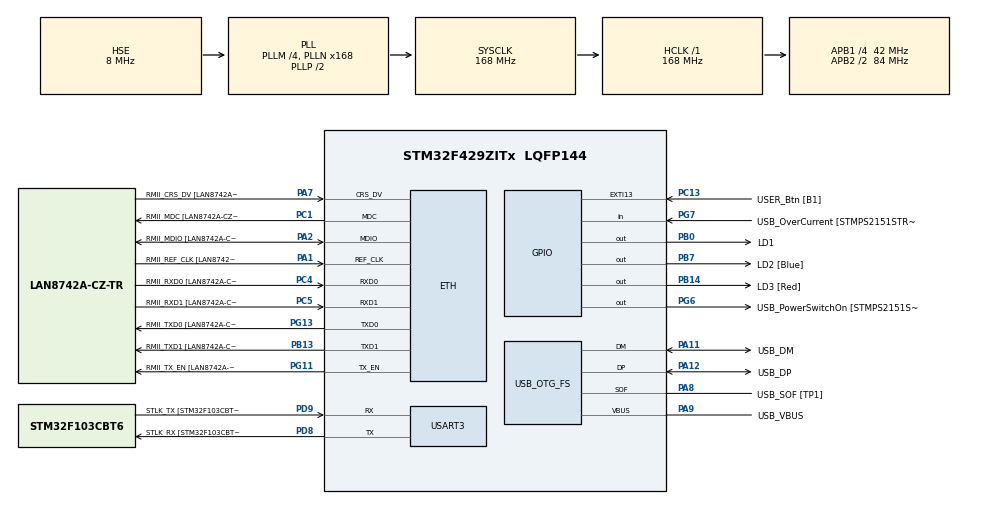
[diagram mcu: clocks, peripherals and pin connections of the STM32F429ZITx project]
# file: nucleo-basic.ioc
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Dma.Request0=USART3_RX
Dma.Request1=USART3_TX
Dma.USART3_RX.0.Direction=DMA_PERIPH_TO_MEMORY
Dma.USART3_RX.0.FIFOMode=DMA_FIFOMODE_DISABLE
Dma.USART3_RX.0.Instance=DMA1_Stream1
Dma.USART3_RX.0.MemDataAlignment=DMA_MDATAALIGN_BYTE
Dma.USART3_RX.0.MemInc=DMA_MINC_ENABLE
Dma.USART3_RX.0.Mode=DMA_NORMAL
Dma.USART3_RX.0.PeriphDataAlignment=DMA_PDATAALIGN_BYTE
Dma.USART3_RX.0.PeriphInc=DMA_PINC_DISABLE
Dma.USART3_RX.0.Priority=DMA_PRIORITY_LOW
Dma.USART3_TX.1.Direction=DMA_MEMORY_TO_PERIPH
Dma.USART3_TX.1.FIFOMode=DMA_FIFOMODE_DISABLE
Dma.USART3_TX.1.Instance=DMA1_Stream3
Dma.USART3_TX.1.MemDataAlignment=DMA_MDATAALIGN_BYTE
Dma.USART3_TX.1.MemInc=DMA_MINC_ENABLE
Dma.USART3_TX.1.Mode=DMA_NORMAL
Dma.USART3_TX.1.PeriphDataAlignment=DMA_PDATAALIGN_BYTE
Dma.USART3_TX.1.PeriphInc=DMA_PINC_DISABLE
Dma.USART3_TX.1.Priority=DMA_PRIORITY_LOW
ETH.MACAddr=00\:80\:E1\:00\:66\:00
ETH.MediaInterface=ETH_MEDIA_INTERFACE_RMII
ETH.PHY_Name=LAN8742A_PHY_ADDRESS
ETH.PHY_Value=0
ETH.PhyAddress=0
FATFS._MAX_LFN=32
FATFS._STRF_ENCODE=0
FATFS._USE_LFN=2
FREERTOS.INCLUDE_uxTaskGetStackHighWaterMark=1
FREERTOS.INCLUDE_vTaskDelayUntil=1
FREERTOS.INCLUDE_xTaskGetCurrentTaskHandle=1
FREERTOS.Tasks01=defaultTask,0,1024,StartDefaultTask,Default,NULL,Dynamic,NULL,NULL
FREERTOS.configTOTAL_HEAP_SIZE=32768
LWIP.Version=v2.0.3_Cube
Mcu.Family=STM32F4
Mcu.Name=STM32F429ZITx
Mcu.Package=LQFP144
NVIC.DMA1_Stream1_IRQn=true\:5\:0\:false\:false\:true\:true\:false
NVIC.DMA1_Stream3_IRQn=true\:5\:0\:false\:false\:true\:true\:false
NVIC.ETH_IRQn=true\:5\:0\:false\:false\:true\:true\:false
NVIC.OTG_FS_IRQn=true\:5\:0\:false\:false\:true\:true\:false
NVIC.PriorityGroup=NVIC_PRIORITYGROUP_4
NVIC.TIM6_DAC_IRQn=true\:0\:0\:false\:false\:true\:false\:false
NVIC.TimeBase=TIM6_DAC_IRQn
NVIC.TimeBaseIP=TIM6
NVIC.USART3_IRQn=true\:5\:0\:false\:false\:true\:true\:true
PA1.GPIO_Label=RMII_REF_CLK [LAN8742A-CZ-TR_REFCLK0]
PA1.Mode=RMII
PA1.Signal=ETH_REF_CLK
PA10.GPIO_Label=USB_ID
PA10.Signal=USB_OTG_FS_ID
PA11.GPIO_Label=USB_DM
PA11.Mode=Host_Only
PA11.Signal=USB_OTG_FS_DM
PA12.GPIO_Label=USB_DP
PA12.Mode=Host_Only
PA12.Signal=USB_OTG_FS_DP
PA13.GPIO_Label=TMS
PA13.Mode=Serial_Wire
PA13.Signal=SYS_JTMS-SWDIO
PA14.GPIO_Label=TCK
PA14.Mode=Serial_Wire
PA14.Signal=SYS_JTCK-SWCLK
PA2.GPIO_Label=RMII_MDIO [LAN8742A-CZ-TR_MDIO]
PA2.Mode=RMII
PA2.Signal=ETH_MDIO
PA7.GPIO_Label=RMII_CRS_DV [LAN8742A-CZ-TR_CRS_DV]
PA7.Mode=RMII
PA7.Signal=ETH_CRS_DV
PA8.GPIO_Label=USB_SOF [TP1]
PA8.Mode=Activate_SOF_FS
PA8.Signal=USB_OTG_FS_SOF
PA9.GPIO_Label=USB_VBUS
PA9.Mode=Activate_VBUS
PA9.Signal=USB_OTG_FS_VBUS
PB0.GPIO_Label=LD1
PB0.Signal=GPIO_Output
PB13.GPIO_Label=RMII_TXD1 [LAN8742A-CZ-TR_TXD1]
PB13.Mode=RMII
PB13.Signal=ETH_TXD1
PB14.GPIO_Label=LD3 [Red]
PB14.Signal=GPIO_Output
PB7.GPIO_Label=LD2 [Blue]
PB7.Signal=GPIO_Output
PC1.GPIO_Label=RMII_MDC [LAN8742A-CZ-TR_MDC]
PC1.Mode=RMII
PC1.Signal=ETH_MDC
PC13.GPIO_Label=USER_Btn [B1]
PC13.Signal=GPXTI13
PC14/OSC32_IN.Mode=LSE-External-Oscillator
PC14/OSC32_IN.Signal=RCC_OSC32_IN
PC15/OSC32_OUT.Mode=LSE-External-Oscillator
PC15/OSC32_OUT.Signal=RCC_OSC32_OUT
PC4.GPIO_Label=RMII_RXD0 [LAN8742A-CZ-TR_RXD0]
PC4.Mode=RMII
PC4.Signal=ETH_RXD0
PC5.GPIO_Label=RMII_RXD1 [LAN8742A-CZ-TR_RXD1]
PC5.Mode=RMII
PC5.Signal=ETH_RXD1
PD8.GPIO_Label=STLK_RX [STM32F103CBT6_PA3]
PD8.Mode=Asynchronous
PD8.Signal=USART3_TX
PD9.GPIO_Label=STLK_TX [STM32F103CBT6_PA2]
PD9.Mode=Asynchronous
PD9.Signal=USART3_RX
PG11.GPIO_Label=RMII_TX_EN [LAN8742A-CZ-TR_TXEN]
PG11.Mode=RMII
PG11.Signal=ETH_TX_EN
PG13.GPIO_Label=RMII_TXD0 [LAN8742A-CZ-TR_TXD0]
PG13.Mode=RMII
PG13.Signal=ETH_TXD0
PG6.GPIO_Label=USB_PowerSwitchOn [STMPS2151STR_EN]
PG6.Signal=GPIO_Output
PG7.GPIO_Label=USB_OverCurrent [STMPS2151STR_FAULT]
PG7.Signal=GPIO_Input
PH0/OSC_IN.GPIO_Label=MCO [STM32F103CBT6_PA8]
PH0/OSC_IN.Mode=HSE-External-Clock-Source
PH0/OSC_IN.Signal=RCC_OSC_IN
PH1/OSC_OUT.Mode=HSE-External-Clock-Source
PH1/OSC_OUT.Signal=RCC_OSC_OUT
ProjectManager.HeapSize=0x200
ProjectManager.StackSize=0x400
ProjectManager.TargetToolchain=TrueSTUDIO
RCC.48MHZClocksFreq_Value=48000000
RCC.AHBFreq_Value=168000000
RCC.APB1CLKDivider=RCC_HCLK_DIV4
RCC.APB1Freq_Value=42000000
RCC.APB1TimFreq_Value=84000000
RCC.APB2CLKDivider=RCC_HCLK_DIV2
RCC.APB2Freq_Value=84000000
RCC.APB2TimCLKDivider=2
RCC.APB2TimFreq_Value=168000000
RCC.CortexFreq_Value=168000000
RCC.HCLKFreq_Value=168000000
RCC.HSE_VALUE=8000000
RCC.HSI_VALUE=16000000
RCC.PLLM=4
RCC.PLLMUL=RCC_PLL_MUL9
RCC.PLLN=168
RCC.PLLQ=7
RCC.PRESCALERUSB=RCC_USBCLKSOURCE_PLL_DIV1_5
RCC.SYSCLKFreq_VALUE=168000000
RCC.SYSCLKSource=RCC_SYSCLKSOURCE_PLLCLK
RCC.SYSCLKSourceVirtual=RCC_SYSCLKSOURCE_PLLCLK
RCC.USBFreq_Value=48000000
RCC.VCOOutputFreq_Value=336000000
USART3.VirtualMode=VM_ASYNC
USB_HOST.BSP.number=1
USB_HOST.USBH_DEBUG_LEVEL-MSC_FS=3
USB_HOST.USBH_HandleTypeDef-MSC_FS=hUsbHostFS
USB_HOST.VirtualModeFS=Msc
USB_HOST0.BSP.STBoard=false
USB_HOST0.BSP.api=Unknown
USB_HOST0.BSP.i2caddr=0
USB_HOST0.BSP.instance=PG6
USB_HOST0.BSP.ip=GPIO
USB_HOST0.BSP.mode=Output
USB_HOST0.BSP.name=Drive_VBUS_FS
USB_HOST0.BSP.solution=PG6
USB_OTG_FS.VirtualMode=Host_Only
USB_OTG_FS.phy_itface=HCD_PHY_EMBEDDED
VP_FATFS_VS_USB.Mode=USB
VP_FREERTOS_VS_ENABLE.Mode=Enabled
VP_LWIP_VS_Enabled.Mode=Enabled
VP_SYS_VS_tim6.Mode=TIM6
VP_USB_HOST_VS_USB_HOST_MSC_FS.Mode=MSC_FS
board=NUCLEO-F429ZI

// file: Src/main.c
/**
  ******************************************************************************
  * @file           : main.c
  * @brief          : Main program body
  ******************************************************************************
  * This notice applies to any and all portions of this file
  * that are not between comment pairs USER CODE BEGIN and
  * USER CODE END. Other portions of this file, whether
  * inserted by the user or by software development tools
  * are owned by their respective copyright owners.
  *
  * Copyright (c) 2020 STMicroelectronics International N.V.
  * All rights reserved.
  *
  * Redistribution and use in source and binary forms, with or without
  * modification, are permitted, provided that the following conditions are met:
  *
  * 1. Redistribution of source code must retain the above copyright notice,
  *    this list of conditions and the following disclaimer.
  * 2. Redistributions in binary form must reproduce the above copyright notice,
  *    this list of conditions and the following disclaimer in the documentation
  *    and/or other materials provided with the distribution.
  * 3. Neither the name of STMicroelectronics nor the names of other
  *    contributors to this software may be used to endorse or promote products
  *    derived from this software without specific written permission.
  * 4. This software, including modifications and/or derivative works of this
  *    software, must execute solely and exclusively on microcontroller or
  *    microprocessor devices manufactured by or for STMicroelectronics.
  * 5. Redistribution and use of this software other than as permitted under
  *    this license is void and will automatically terminate your rights under
  *    this license.
  *
  * THIS SOFTWARE IS PROVIDED BY STMICROELECTRONICS AND CONTRIBUTORS "AS IS"
  * AND ANY EXPRESS, IMPLIED OR STATUTORY WARRANTIES, INCLUDING, BUT NOT
  * LIMITED TO, THE IMPLIED WARRANTIES OF MERCHANTABILITY, FITNESS FOR A
  * PARTICULAR PURPOSE AND NON-INFRINGEMENT OF THIRD PARTY INTELLECTUAL PROPERTY
  * RIGHTS ARE DISCLAIMED TO THE FULLEST EXTENT PERMITTED BY LAW. IN NO EVENT
  * SHALL STMICROELECTRONICS OR CONTRIBUTORS BE LIABLE FOR ANY DIRECT, INDIRECT,
  * INCIDENTAL, SPECIAL, EXEMPLARY, OR CONSEQUENTIAL DAMAGES (INCLUDING, BUT NOT
  * LIMITED TO, PROCUREMENT OF SUBSTITUTE GOODS OR SERVICES; LOSS OF USE, DATA,
  * OR PROFITS; OR BUSINESS INTERRUPTION) HOWEVER CAUSED AND ON ANY THEORY OF
  * LIABILITY, WHETHER IN CONTRACT, STRICT LIABILITY, OR TORT (INCLUDING
  * NEGLIGENCE OR OTHERWISE) ARISING IN ANY WAY OUT OF THE USE OF THIS SOFTWARE,
  * EVEN IF ADVISED OF THE POSSIBILITY OF SUCH DAMAGE.
  *
  ******************************************************************************
  */
#include "main.h"
#include "stm32f4xx_hal.h"
#include "cmsis_os.h"
#include "fatfs.h"
#include "lwip.h"
#include "usb_host.h"

/* USER CODE BEGIN Includes */
#include "dbgu.h"
#include "term_io.h"
#include "ansi.h"

#include "FreeRTOS.h"
#include "task.h"
#include "queue.h"

/* USER CODE END Includes */

UART_HandleTypeDef huart3;
DMA_HandleTypeDef hdma_usart3_rx;
DMA_HandleTypeDef hdma_usart3_tx;

osThreadId defaultTaskHandle;

/* USER CODE BEGIN PV */
/* Private variables ---------------------------------------------------------*/
xTaskHandle taskMessageHandler;
xQueueHandle loopQueue;
xSemaphoreHandle labSemaphore;

/* USER CODE END PV */

void SystemClock_Config(void);
static void MX_GPIO_Init(void);
static void MX_DMA_Init(void);
static void MX_USART3_UART_Init(void);
void StartDefaultTask(void const * argument);

/* USER CODE BEGIN PFP */
/* Private function prototypes -----------------------------------------------*/

/* USER CODE END PFP */

/* USER CODE BEGIN 0 */
#define FREERTOS_LAB 1
/* USER CODE END 0 */

int main(void)
{

  /* MCU Configuration----------------------------------------------------------*/

  /* Reset of all peripherals, Initializes the Flash interface and the Systick. */
  HAL_Init();

  /* Configure the system clock */
  SystemClock_Config();

  /* Initialize all configured peripherals */
  MX_GPIO_Init();
  MX_DMA_Init();
  MX_USART3_UART_Init();
  /* USER CODE BEGIN 2 */
  debug_init(&huart3);
  xprintf(ANSI_BG_BLUE "\nNucleo-144 F429ZI FreeRTOS project" ANSI_BG_DEFAULT "\n");
  xprintf("Funkcja xprintf dziala.\n");
  printf("Zwykly printf dziala.\n");

  /* USER CODE END 2 */

  /* Create the thread(s) */
  /* definition and creation of defaultTask */
  osThreadDef(defaultTask, StartDefaultTask, osPriorityNormal, 0, 1024);
  defaultTaskHandle = osThreadCreate(osThread(defaultTask), NULL);

  /* Start scheduler */
  osKernelStart();

  /* We should never get here as control is now taken by the scheduler */

  /* Infinite loop */
  while (1)
  {

  }

}

void SystemClock_Config(void)
{

  RCC_OscInitTypeDef RCC_OscInitStruct;
  RCC_ClkInitTypeDef RCC_ClkInitStruct;

    /**Configure the main internal regulator output voltage
    */
  __HAL_RCC_PWR_CLK_ENABLE();

  __HAL_PWR_VOLTAGESCALING_CONFIG(PWR_REGULATOR_VOLTAGE_SCALE1);

    /**Initializes the CPU, AHB and APB busses clocks
    */
  RCC_OscInitStruct.OscillatorType = RCC_OSCILLATORTYPE_HSE;
  RCC_OscInitStruct.HSEState = RCC_HSE_BYPASS;
  RCC_OscInitStruct.PLL.PLLState = RCC_PLL_ON;
  RCC_OscInitStruct.PLL.PLLSource = RCC_PLLSOURCE_HSE;
  RCC_OscInitStruct.PLL.PLLM = 4;
  RCC_OscInitStruct.PLL.PLLN = 168;
  RCC_OscInitStruct.PLL.PLLP = RCC_PLLP_DIV2;
  RCC_OscInitStruct.PLL.PLLQ = 7;
  if (HAL_RCC_OscConfig(&RCC_OscInitStruct) != HAL_OK)
  {
    _Error_Handler(__FILE__, __LINE__);
  }

    /**Initializes the CPU, AHB and APB busses clocks
    */
  RCC_ClkInitStruct.ClockType = RCC_CLOCKTYPE_HCLK|RCC_CLOCKTYPE_SYSCLK
                              |RCC_CLOCKTYPE_PCLK1|RCC_CLOCKTYPE_PCLK2;
  RCC_ClkInitStruct.SYSCLKSource = RCC_SYSCLKSOURCE_PLLCLK;
  RCC_ClkInitStruct.AHBCLKDivider = RCC_SYSCLK_DIV1;
  RCC_ClkInitStruct.APB1CLKDivider = RCC_HCLK_DIV4;
  RCC_ClkInitStruct.APB2CLKDivider = RCC_HCLK_DIV2;

  if (HAL_RCC_ClockConfig(&RCC_ClkInitStruct, FLASH_LATENCY_5) != HAL_OK)
  {
    _Error_Handler(__FILE__, __LINE__);
  }

    /**Configure the Systick interrupt time
    */
  HAL_SYSTICK_Config(HAL_RCC_GetHCLKFreq()/1000);

    /**Configure the Systick
    */
  HAL_SYSTICK_CLKSourceConfig(SYSTICK_CLKSOURCE_HCLK);

  /* SysTick_IRQn interrupt configuration */
  HAL_NVIC_SetPriority(SysTick_IRQn, 15, 0);
}

/* USART3 init function */
static void MX_USART3_UART_Init(void)
{

  huart3.Instance = USART3;
  huart3.Init.BaudRate = 115200;
  huart3.Init.WordLength = UART_WORDLENGTH_8B;
  huart3.Init.StopBits = UART_STOPBITS_1;
  huart3.Init.Parity = UART_PARITY_NONE;
  huart3.Init.Mode = UART_MODE_TX_RX;
  huart3.Init.HwFlowCtl = UART_HWCONTROL_NONE;
  huart3.Init.OverSampling = UART_OVERSAMPLING_16;
  if (HAL_UART_Init(&huart3) != HAL_OK)
  {
    _Error_Handler(__FILE__, __LINE__);
  }

}

static void MX_DMA_Init(void)
{
  /* DMA controller clock enable */
  __HAL_RCC_DMA1_CLK_ENABLE();

  /* DMA interrupt init */
  /* DMA1_Stream1_IRQn interrupt configuration */
  HAL_NVIC_SetPriority(DMA1_Stream1_IRQn, 5, 0);
  HAL_NVIC_EnableIRQ(DMA1_Stream1_IRQn);
  /* DMA1_Stream3_IRQn interrupt configuration */
  HAL_NVIC_SetPriority(DMA1_Stream3_IRQn, 5, 0);
  HAL_NVIC_EnableIRQ(DMA1_Stream3_IRQn);

}

/** Configure pins as
        * Analog
        * Input
        * Output
        * EVENT_OUT
        * EXTI
*/
static void MX_GPIO_Init(void)
{

  GPIO_InitTypeDef GPIO_InitStruct;

  /* GPIO Ports Clock Enable */
  __HAL_RCC_GPIOC_CLK_ENABLE();
  __HAL_RCC_GPIOH_CLK_ENABLE();
  __HAL_RCC_GPIOA_CLK_ENABLE();
  __HAL_RCC_GPIOB_CLK_ENABLE();
  __HAL_RCC_GPIOD_CLK_ENABLE();
  __HAL_RCC_GPIOG_CLK_ENABLE();

  /*Configure GPIO pin Output Level */
  HAL_GPIO_WritePin(GPIOB, LD1_Pin|LD3_Pin|LD2_Pin, GPIO_PIN_RESET);

  /*Configure GPIO pin Output Level */
  HAL_GPIO_WritePin(USB_PowerSwitchOn_GPIO_Port, USB_PowerSwitchOn_Pin, GPIO_PIN_RESET);

  /*Configure GPIO pin : USER_Btn_Pin */
  GPIO_InitStruct.Pin = USER_Btn_Pin;
  GPIO_InitStruct.Mode = GPIO_MODE_IT_RISING;
  GPIO_InitStruct.Pull = GPIO_NOPULL;
  HAL_GPIO_Init(USER_Btn_GPIO_Port, &GPIO_InitStruct);

  /*Configure GPIO pins : LD1_Pin LD3_Pin LD2_Pin */
  GPIO_InitStruct.Pin = LD1_Pin|LD3_Pin|LD2_Pin;
  GPIO_InitStruct.Mode = GPIO_MODE_OUTPUT_PP;
  GPIO_InitStruct.Pull = GPIO_NOPULL;
  GPIO_InitStruct.Speed = GPIO_SPEED_FREQ_LOW;
  HAL_GPIO_Init(GPIOB, &GPIO_InitStruct);

  /*Configure GPIO pin : USB_PowerSwitchOn_Pin */
  GPIO_InitStruct.Pin = USB_PowerSwitchOn_Pin;
  GPIO_InitStruct.Mode = GPIO_MODE_OUTPUT_PP;
  GPIO_InitStruct.Pull = GPIO_NOPULL;
  GPIO_InitStruct.Speed = GPIO_SPEED_FREQ_LOW;
  HAL_GPIO_Init(USB_PowerSwitchOn_GPIO_Port, &GPIO_InitStruct);

  /*Configure GPIO pin : USB_OverCurrent_Pin */
  GPIO_InitStruct.Pin = USB_OverCurrent_Pin;
  GPIO_InitStruct.Mode = GPIO_MODE_INPUT;
  GPIO_InitStruct.Pull = GPIO_NOPULL;
  HAL_GPIO_Init(USB_OverCurrent_GPIO_Port, &GPIO_InitStruct);

}

/* USER CODE BEGIN 4 */
void messageTask(void *paramters) {
	portTickType xLastWakeTime;
	xLastWakeTime = xTaskGetTickCount();

	while(1)
	{
		vTaskDelayUntil( &xLastWakeTime, 1000);

		xprintf("Current systime is: %05d\n",(int)xTaskGetTickCount());

		volatile int i = 1000000;
		while(i--) asm("nop");

		char key;
		while(xQueueReceive(loopQueue, &key, 4) == pdTRUE){
			xprintf("Received key: %c\n", key);
		}

	}
}

void ledTask(void *paramters) {
	while(1)
	{
//	  HAL_GPIO_TogglePin(LD2_GPIO_Port,LD2_Pin);
//	  vTaskDelay(1);
//	  HAL_GPIO_TogglePin(LD2_GPIO_Port,LD2_Pin);
//	  vTaskDelay(5);

	  char key = inkey();

	  if(key != 0) {
		  if(key == 's') {
			  vTaskSuspend(taskMessageHandler);
		  }
		  else if(key == 'r') {
			  vTaskResume(taskMessageHandler);
		  }
		  else {
			  portBASE_TYPE conf = xQueueSend(loopQueue, &key, 4);
			  if (conf != pdTRUE) {
				  xprintf("Queue is full!!!");
			  }
		  }
	  }
	}
}

void semTaskA(void *paramters) {
	while(1)
	{
	  if(xSemaphoreTake(labSemaphore, 100) == pdTRUE) {

		  HAL_GPIO_TogglePin(LD2_GPIO_Port,LD2_Pin);
		  vTaskDelay(100);
		  HAL_GPIO_TogglePin(LD2_GPIO_Port,LD2_Pin);
		  xSemaphoreGive(labSemaphore);
		  vTaskDelay(200);

	  }

	}
}

void semTaskB(void *paramters) {
	while(1)
	{
		if(xSemaphoreTake(labSemaphore, 100) == pdTRUE) {

		  HAL_GPIO_TogglePin(LD3_GPIO_Port,LD3_Pin);
		  vTaskDelay(4000);
		  HAL_GPIO_TogglePin(LD3_GPIO_Port,LD3_Pin);
		  xSemaphoreGive(labSemaphore);
		  vTaskDelay(1000);

		}
	}
}

/* USER CODE END 4 */

/* StartDefaultTask function */
void StartDefaultTask(void const * argument)
{
  /* init code for USB_HOST */
  MX_USB_HOST_Init();

  /* init code for FATFS */
  MX_FATFS_Init();

  xprintf("MX_LWIP_Init, be patient...\n");
  /* init code for LWIP */
  MX_LWIP_Init();

  /* USER CODE BEGIN 5 */

  /*
   * ================================================
   * This is a nice place to create additional tasks,
   * queues, and semaphores for this lab exercise :)
   * ================================================
   */
    xprintf("starting other stuff!\n");

    loopQueue = xQueueCreate(5, sizeof(char));
    labSemaphore = xSemaphoreCreateBinary();
    xSemaphoreGive(labSemaphore);

    char messageTaskName[] = "messageTask";
    xTaskCreate(&messageTask, messageTaskName, configMINIMAL_STACK_SIZE + 20, NULL, 3, &taskMessageHandler);

    char ledTaskName[] = "ledTask";
	xTaskCreate(&ledTask, ledTaskName, configMINIMAL_STACK_SIZE + 20, NULL, 2, NULL);

	xTaskCreate(&semTaskA, NULL, configMINIMAL_STACK_SIZE + 20, NULL, 5, NULL);

	xTaskCreate(&semTaskB, NULL, configMINIMAL_STACK_SIZE + 20, NULL, 4, NULL);

    xprintf("entering StartDefaultTask main loop");
	xprintf("\n");

	while(1)
	{
	  HAL_GPIO_TogglePin(LD1_GPIO_Port,LD1_Pin);
	  vTaskDelay(200);
	}

  #if FREERTOS_LAB==0

	  /* Infinite loop */
	  for(;;)
	  {
		//LD3 zmieni stan (toggle)
		HAL_GPIO_TogglePin(LD3_GPIO_Port,LD3_Pin);

		//LD2 wlaczona, czekamy 250 tickow i wylaczamy
		HAL_GPIO_WritePin(LD2_GPIO_Port,LD2_Pin,GPIO_PIN_SET);
		osDelay(250);
		HAL_GPIO_WritePin(LD2_GPIO_Port,LD2_Pin,GPIO_PIN_RESET);
		osDelay(250);
	  }
  #endif

  /* USER CODE END 5 */
}

void HAL_TIM_PeriodElapsedCallback(TIM_HandleTypeDef *htim)
{
  if (htim->Instance == TIM6) {
    HAL_IncTick();
  }
}

void _Error_Handler(char *file, int line)
{
  while(1)
  {
  }
}

/************************ (C) COPYRIGHT STMicroelectronics *****END OF FILE****/
